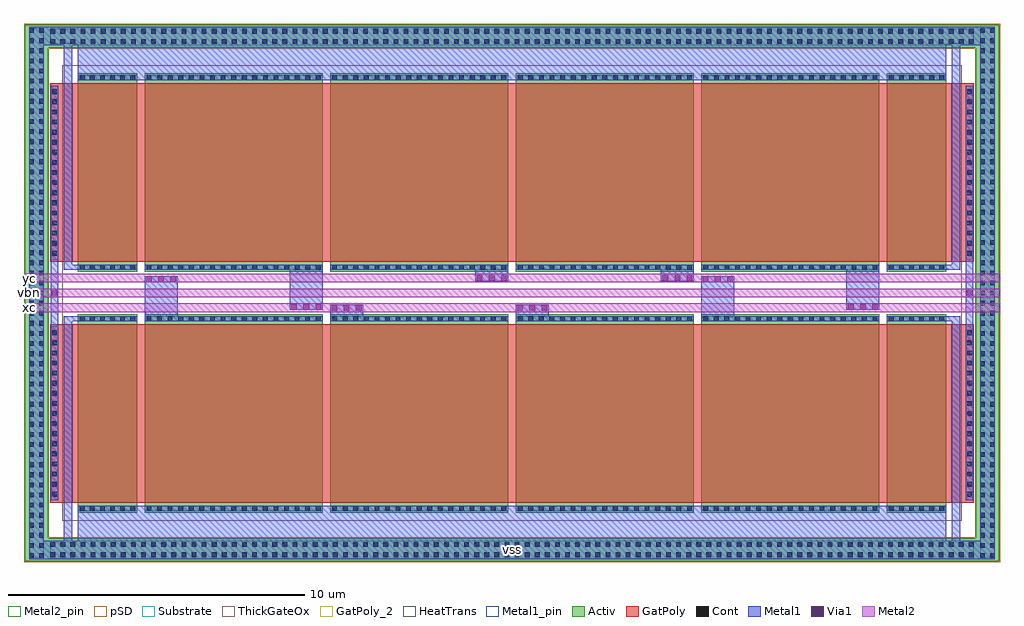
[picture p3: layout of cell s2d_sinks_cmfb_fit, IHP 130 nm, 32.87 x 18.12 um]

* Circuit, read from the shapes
.subckt s2d_sinks_cmfb_fit vbn vss xc yc
XM1 vss vbn vss vss sg13_hv_nmos w=2u l=6u m=4
XM2 yc vbn vss vss sg13_hv_nmos w=6u l=6u m=4
XM3 vss vbn xc vss sg13_hv_nmos w=6u l=6u m=4
.ends

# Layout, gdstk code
from math import pi, radians
import gdstk
lib = gdstk.Library(unit=1e-6, precision=1e-09)
def R(c, l, rs):  # rectangles x0, y0, x1, y1
    for r in rs: c.add(gdstk.rectangle(r[:2], r[2:], *l))
def A(c, l, x, y, w, h, nx, ny, dx, dy):  # array of equal rectangles
    R(c, l, [(x+i*dx, y+j*dy, x+i*dx+w, y+j*dy+h) for i in range(nx) for j in range(ny)])
Activ = (1, 0)
GatPoly = (5, 0)
GatPoly_2 = (5, 2)
Cont = (6, 0)
Metal1 = (8, 0)
Metal1_pin = (8, 2)
Metal2 = (10, 0)
Metal2_pin = (10, 2)
pSD = (14, 0)
Via1 = (19, 0)
Substrate = (40, 0)
ThickGateOx = (44, 0)
HeatTrans = (51, 0)

nmoshv_3 = lib.new_cell('nmosHV$3')
R(nmoshv_3, Activ, [(0,0,0.3,0.3), (0,0,6.68,6), (6.38,0,6.68,0.3)])
R(nmoshv_3, GatPoly, [(0.34,-0.18,6.34,6.18)])
R(nmoshv_3, GatPoly_2, [(0.34,-0.18,6.34,6.18)])
A(nmoshv_3, Cont, 0.07, 0.07, 0.16, 0.16, 1, 4, 0, 0.355)
A(nmoshv_3, Cont, 6.45, 0.07, 0.16, 0.16, 1, 4, 0, 0.355)
A(nmoshv_3, Cont, 0.07, 1.495, 0.16, 0.16, 1, 4, 0, 0.355)
A(nmoshv_3, Cont, 6.45, 1.495, 0.16, 0.16, 1, 4, 0, 0.355)
A(nmoshv_3, Cont, 0.07, 2.92, 0.16, 0.16, 1, 4, 0, 0.355)
A(nmoshv_3, Cont, 6.45, 2.92, 0.16, 0.16, 1, 4, 0, 0.355)
A(nmoshv_3, Cont, 0.07, 4.345, 0.16, 0.16, 1, 4, 0, 0.355)
A(nmoshv_3, Cont, 6.45, 4.345, 0.16, 0.16, 1, 4, 0, 0.355)
R(nmoshv_3, Cont, [(0.07,5.77,0.23,5.93), (6.45,5.77,6.61,5.93)])
R(nmoshv_3, Metal1, [(0.07,0,0.23,6), (6.45,0,6.61,6)])
R(nmoshv_3, Metal1_pin, [(0.07,0,0.23,6), (6.45,0,6.61,6)])
R(nmoshv_3, ThickGateOx, [(-0.27,-0.52,6.95,6.52)])
R(nmoshv_3, HeatTrans, [(0.34,-0.18,6.34,6.18)])
nmoshv_3.add(gdstk.Label('nmosHV', (3.34,3), layer=63, texttype=0))
nmoshv_3.add(gdstk.Label('nmosHV', (3.34,3), layer=51, texttype=0))

nmoshv_12 = lib.new_cell('nmosHV$12')
R(nmoshv_12, Activ, [(0,0,0.3,0.3), (0,0,6.68,2), (6.38,0,6.68,0.3)])
R(nmoshv_12, GatPoly, [(0.34,-0.18,6.34,2.18)])
R(nmoshv_12, GatPoly_2, [(0.34,-0.18,6.34,2.18)])
A(nmoshv_12, Cont, 0.07, 0.07, 0.16, 0.16, 1, 6, 0, 0.34)
A(nmoshv_12, Cont, 6.45, 0.07, 0.16, 0.16, 1, 6, 0, 0.34)
R(nmoshv_12, Metal1, [(0.07,0,0.23,2), (6.45,0,6.61,2)])
R(nmoshv_12, Metal1_pin, [(0.07,0,0.23,2), (6.45,0,6.61,2)])
R(nmoshv_12, ThickGateOx, [(-0.27,-0.52,6.95,2.52)])
R(nmoshv_12, HeatTrans, [(0.34,-0.18,6.34,2.18)])
nmoshv_12.add(gdstk.Label('nmosHV', (3.34,1), layer=63, texttype=0))
nmoshv_12.add(gdstk.Label('nmosHV', (3.34,1), layer=51, texttype=0))

s2d_sinks_cmfb_row = lib.new_cell('s2d_sinks_cmfb_row')
R(s2d_sinks_cmfb_row, GatPoly, [(-0.93,0.34,-0.18,6.34), (29.43,0.34,30.18,6.34)])
A(s2d_sinks_cmfb_row, Cont, -0.86, 0.54, 0.16, 0.16, 1, 17, 0, 0.34)
A(s2d_sinks_cmfb_row, Cont, 29.95, 0.54, 0.16, 0.16, 1, 17, 0, 0.34)
R(s2d_sinks_cmfb_row, Metal1, [(0,-1.545,29.25,0.23), (-0.91,0.41,-0.65,6.27), (29.9,0.41,30.16,6.27)])
R(s2d_sinks_cmfb_row, Metal1_pin, [(0,-1.545,29.25,-0.945), (-0.91,0.41,-0.65,6.27), (29.9,0.41,30.16,6.27)])
r = gdstk.Reference(nmoshv_3, (2.25,6.68), rotation=3*pi/2); r.repetition = gdstk.Repetition(1, 4, v1=(0,0), v2=(6.25,0)); s2d_sinks_cmfb_row.add(r)
s2d_sinks_cmfb_row.add(gdstk.Reference(nmoshv_12, (0,6.68), rotation=3*pi/2))
s2d_sinks_cmfb_row.add(gdstk.Reference(nmoshv_12, (27.25,6.68), rotation=3*pi/2))
s2d_sinks_cmfb_row.add(gdstk.Label('vss', (14.625,-1.245), layer=8, texttype=25))
s2d_sinks_cmfb_row.add(gdstk.Label('vbn', (-0.78,3.34), layer=8, texttype=25))
s2d_sinks_cmfb_row.add(gdstk.Label('vbn', (30.03,3.34), layer=8, texttype=25))

ptap1_17 = lib.new_cell('ptap1$17')
R(ptap1_17, Activ, [(0,0,0.78,18.065)])
A(ptap1_17, Cont, 0.14, 0.11, 0.16, 0.16, 1, 53, 0, 0.34)
A(ptap1_17, Cont, 0.48, 0.11, 0.16, 0.16, 1, 53, 0, 0.34)
R(ptap1_17, Metal1, [(0.14,0.06,0.64,18), (0.14,0.11,0.64,17.95)])
R(ptap1_17, Metal1_pin, [(0.14,0.11,0.64,17.95)])
R(ptap1_17, pSD, [(-0.03,-0.03,0.81,18.095)])
R(ptap1_17, Substrate, [(0,0,0.78,18.065)])
ptap1_17.add(gdstk.Label('sub!', (0.39,0.01), layer=63, texttype=0))
ptap1_17.add(gdstk.Label('sub!', (0.39,0.01), layer=40, texttype=0))

ptap1_28 = lib.new_cell('ptap1$28')
R(ptap1_28, Activ, [(0,0,31.25,0.78)])
A(ptap1_28, Cont, 0.075, 0.14, 0.16, 0.16, 92, 2, 0.34, 0.34)
R(ptap1_28, Metal1, [(0.075,0.09,31.175,0.69), (0.075,0.14,31.175,0.64)])
R(ptap1_28, Metal1_pin, [(0.075,0.14,31.175,0.64)])
R(ptap1_28, pSD, [(-0.03,-0.03,31.28,0.81)])
R(ptap1_28, Substrate, [(0,0,31.25,0.78)])
ptap1_28.add(gdstk.Label('sub!', (15.625,0.01), layer=63, texttype=0))
ptap1_28.add(gdstk.Label('sub!', (15.625,0.01), layer=40, texttype=0))

s2d_sinks_cmfb_wiring = lib.new_cell('s2d_sinks_cmfb_wiring')
R(s2d_sinks_cmfb_wiring, Metal1, [(-1.64,-1.575,30.89,-1.545), (-1.24,-1.545,-0.825,-0.945), (30.075,-1.545,30.49,-0.945), (-0.47,-1.045,-0.18,6.61), (29.43,-1.045,29.72,6.61), (-0.91,6.17,-0.65,8.625), (29.9,6.17,30.16,8.625), (-0.47,6.45,0.1,6.61), (2.25,6.45,3.36,7.965), (8.5,6.45,9.61,7.005), (14.75,6.45,15.86,7.005), (21,6.45,22.11,7.965), (29.15,6.45,29.72,6.61), (7.14,6.83,8.25,8.345), (25.89,6.83,27,8.345), (13.39,7.795,14.5,8.345), (19.64,7.795,20.75,8.345), (-0.47,8.185,-0.18,15.84), (-0.47,8.185,0.1,8.345), (29.15,8.185,29.72,8.345), (29.43,8.185,29.72,15.84), (-1.24,15.74,-0.825,16.34), (30.075,15.74,30.49,16.34), (-1.64,16.34,30.89,16.365)])
A(s2d_sinks_cmfb_wiring, Via1, 8.55, 6.805, 0.19, 0.19, 3, 1, 0.41, 0)
A(s2d_sinks_cmfb_wiring, Via1, 14.8, 6.805, 0.19, 0.19, 3, 1, 0.41, 0)
A(s2d_sinks_cmfb_wiring, Via1, 7.19, 6.84, 0.19, 0.19, 3, 1, 0.41, 0)
A(s2d_sinks_cmfb_wiring, Via1, 25.94, 6.84, 0.19, 0.19, 3, 1, 0.41, 0)
A(s2d_sinks_cmfb_wiring, Via1, 2.3, 7.765, 0.19, 0.19, 3, 1, 0.41, 0)
A(s2d_sinks_cmfb_wiring, Via1, 21.05, 7.765, 0.19, 0.19, 3, 1, 0.41, 0)
A(s2d_sinks_cmfb_wiring, Via1, 13.44, 7.805, 0.19, 0.19, 3, 1, 0.41, 0)
A(s2d_sinks_cmfb_wiring, Via1, 19.69, 7.805, 0.19, 0.19, 3, 1, 0.41, 0)
R(s2d_sinks_cmfb_wiring, Via1, [(-0.875,7.305,-0.685,7.495), (29.935,7.305,30.125,7.495)])
R(s2d_sinks_cmfb_wiring, ThickGateOx, [(-0.52,6.62,29.77,8.175)])
s2d_sinks_cmfb_wiring.add(gdstk.FlexPath([(-1.665,6.9),(30.915,6.9)], 0.29, ends="extended", simple_path=True, layer=10, datatype=0))  # Metal2
s2d_sinks_cmfb_wiring.add(gdstk.FlexPath([(-1.665,7.4),(30.915,7.4)], 0.29, ends="extended", simple_path=True, layer=10, datatype=0))  # Metal2
s2d_sinks_cmfb_wiring.add(gdstk.FlexPath([(-1.665,7.9),(30.915,7.9)], 0.29, ends="extended", simple_path=True, layer=10, datatype=0))  # Metal2
s2d_sinks_cmfb_wiring.add(gdstk.Reference(ptap1_17, (-1.78,-1.635)))
s2d_sinks_cmfb_wiring.add(gdstk.Reference(ptap1_17, (30.25,-1.635)))
s2d_sinks_cmfb_wiring.add(gdstk.Reference(ptap1_28, (-1,15.65)))
s2d_sinks_cmfb_wiring.add(gdstk.Reference(ptap1_28, (-1,-1.635)))
s2d_sinks_cmfb_wiring.add(gdstk.Label('dummy', (1,3.34), layer=63, texttype=0))
s2d_sinks_cmfb_wiring.add(gdstk.Label('dummy', (1,11.455), layer=63, texttype=0))
s2d_sinks_cmfb_wiring.add(gdstk.Label('SYC', (5.25,3.34), layer=63, texttype=0))
s2d_sinks_cmfb_wiring.add(gdstk.Label('SXC', (5.25,11.455), layer=63, texttype=0))
s2d_sinks_cmfb_wiring.add(gdstk.Label('SXC', (11.5,3.34), layer=63, texttype=0))
s2d_sinks_cmfb_wiring.add(gdstk.Label('SYC', (11.5,11.455), layer=63, texttype=0))
s2d_sinks_cmfb_wiring.add(gdstk.Label('SXC', (17.75,3.34), layer=63, texttype=0))
s2d_sinks_cmfb_wiring.add(gdstk.Label('SYC', (17.75,11.455), layer=63, texttype=0))
s2d_sinks_cmfb_wiring.add(gdstk.Label('SYC', (24,3.34), layer=63, texttype=0))
s2d_sinks_cmfb_wiring.add(gdstk.Label('SXC', (24,11.455), layer=63, texttype=0))
s2d_sinks_cmfb_wiring.add(gdstk.Label('dummy', (28.25,3.34), layer=63, texttype=0))
s2d_sinks_cmfb_wiring.add(gdstk.Label('dummy', (28.25,11.455), layer=63, texttype=0))

s2d_sinks_cmfb_fit = lib.new_cell('s2d_sinks_cmfb_fit')
R(s2d_sinks_cmfb_fit, Metal1_pin, [(-0.925,-1.545,30.175,-0.945)])
A(s2d_sinks_cmfb_fit, Metal2_pin, -1.81, 6.755, 0.4, 0.29, 1, 3, 0, 0.5)
s2d_sinks_cmfb_fit.add(gdstk.Reference(s2d_sinks_cmfb_row, (0,0)))
s2d_sinks_cmfb_fit.add(gdstk.Reference(s2d_sinks_cmfb_row, (29.25,14.795), rotation=pi))
s2d_sinks_cmfb_fit.add(gdstk.Reference(s2d_sinks_cmfb_wiring, (0,0)))
s2d_sinks_cmfb_fit.add(gdstk.Label('vss', (14.625,-1.245), layer=8, texttype=25))
s2d_sinks_cmfb_fit.add(gdstk.Label('xc', (-1.61,6.9), layer=10, texttype=25))
s2d_sinks_cmfb_fit.add(gdstk.Label('vbn', (-1.61,7.4), layer=10, texttype=25))
s2d_sinks_cmfb_fit.add(gdstk.Label('yc', (-1.61,7.9), layer=10, texttype=25))

lib.write_gds('s2d_sinks_cmfb_fit.gds')
